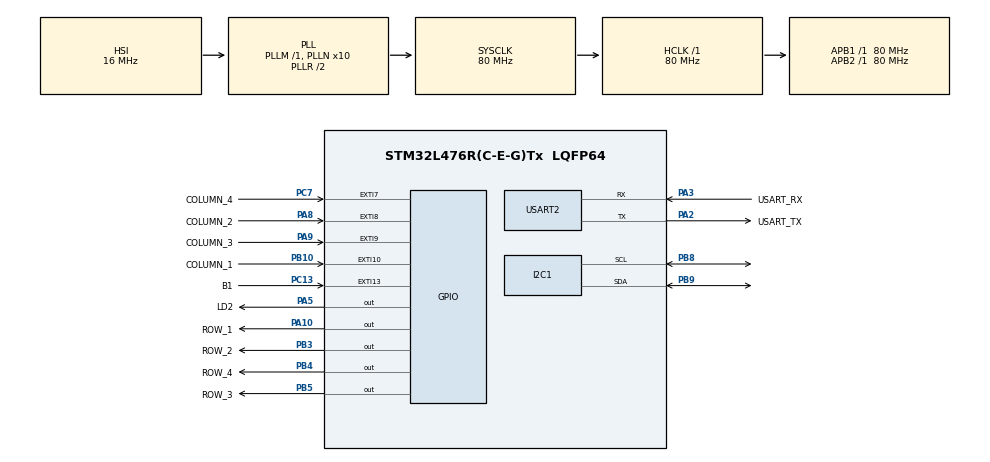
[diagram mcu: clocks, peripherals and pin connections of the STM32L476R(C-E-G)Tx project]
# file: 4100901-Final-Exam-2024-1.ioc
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I2C1.Timing=0x10909CEC
Mcu.Family=STM32L4
Mcu.Name=STM32L476R(C-E-G)Tx
Mcu.Package=LQFP64
NVIC.EXTI15_10_IRQn=true\:0\:0\:false\:false\:true\:true\:true\:true
NVIC.PriorityGroup=NVIC_PRIORITYGROUP_4
NVIC.USART2_IRQn=true\:0\:0\:false\:false\:true\:true\:true\:true
PA10.GPIO_Label=ROW_1
PA10.Signal=GPIO_Output
PA13\ (JTMS-SWDIO).GPIO_Label=TMS
PA13\ (JTMS-SWDIO).Mode=Serial_Wire
PA13\ (JTMS-SWDIO).Signal=SYS_JTMS-SWDIO
PA14\ (JTCK-SWCLK).GPIO_Label=TCK
PA14\ (JTCK-SWCLK).Mode=Serial_Wire
PA14\ (JTCK-SWCLK).Signal=SYS_JTCK-SWCLK
PA2.GPIO_Label=USART_TX
PA2.GPIO_Mode=GPIO_MODE_AF_PP
PA2.GPIO_PuPd=GPIO_NOPULL
PA2.GPIO_Speed=GPIO_SPEED_FREQ_VERY_HIGH
PA2.Mode=Asynchronous
PA2.Signal=USART2_TX
PA3.GPIO_Label=USART_RX
PA3.GPIO_Mode=GPIO_MODE_AF_PP
PA3.GPIO_PuPd=GPIO_NOPULL
PA3.GPIO_Speed=GPIO_SPEED_FREQ_VERY_HIGH
PA3.Mode=Asynchronous
PA3.Signal=USART2_RX
PA5.GPIO_Label=LD2 
PA5.GPIO_ModeDefaultOutputPP=GPIO_MODE_OUTPUT_PP
PA5.GPIO_PuPd=GPIO_NOPULL
PA5.GPIO_Speed=GPIO_SPEED_FREQ_LOW
PA5.Signal=GPIO_Output
PA8.GPIO_Label=COLUMN_2
PA8.Signal=GPXTI8
PA9.GPIO_Label=COLUMN_3
PA9.Signal=GPXTI9
PB10.GPIO_Label=COLUMN_1
PB10.Signal=GPXTI10
PB3\ (JTDO-TRACESWO).GPIO_Label=ROW_2
PB3\ (JTDO-TRACESWO).Signal=GPIO_Output
PB4\ (NJTRST).GPIO_Label=ROW_4
PB4\ (NJTRST).Signal=GPIO_Output
PB5.GPIO_Label=ROW_3
PB5.Signal=GPIO_Output
PB8.Mode=I2C
PB8.Signal=I2C1_SCL
PB9.Mode=I2C
PB9.Signal=I2C1_SDA
PC13.GPIO_Label=B1 
PC13.GPIO_ModeDefaultEXTI=GPIO_MODE_IT_FALLING
PC13.GPIO_PuPd=GPIO_NOPULL
PC13.Signal=GPXTI13
PC14-OSC32_IN\ (PC14).Mode=LSE-External-Oscillator
PC14-OSC32_IN\ (PC14).Signal=RCC_OSC32_IN
PC15-OSC32_OUT\ (PC15).Mode=LSE-External-Oscillator
PC15-OSC32_OUT\ (PC15).Signal=RCC_OSC32_OUT
PC7.GPIO_Label=COLUMN_4
PC7.Signal=GPXTI7
PH0-OSC_IN\ (PH0).Signal=RCC_OSC_IN
PH1-OSC_OUT\ (PH1).Signal=RCC_OSC_OUT
ProjectManager.HeapSize=0x200
ProjectManager.StackSize=0x400
ProjectManager.TargetToolchain=STM32CubeIDE
RCC.ADCFreq_Value=64000000
RCC.AHBFreq_Value=80000000
RCC.APB1Freq_Value=80000000
RCC.APB1TimFreq_Value=80000000
RCC.APB2Freq_Value=80000000
RCC.APB2TimFreq_Value=80000000
RCC.CortexFreq_Value=80000000
RCC.HCLKFreq_Value=80000000
RCC.HSE_VALUE=8000000
RCC.HSI_VALUE=16000000
RCC.MSI_VALUE=4000000
RCC.PLLN=10
RCC.PLLSourceVirtual=RCC_PLLSOURCE_HSI
RCC.PREFETCH_ENABLE=1
RCC.SYSCLKFreq_VALUE=80000000
RCC.SYSCLKSource=RCC_SYSCLKSOURCE_PLLCLK
RCC.USBFreq_Value=64000000
RCC.VCOOutputFreq_Value=160000000
USART2.VirtualMode-Asynchronous=VM_ASYNC
board=NUCLEO-L476RG

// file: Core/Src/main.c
/* USER CODE BEGIN Header */
/**
  ******************************************************************************
  * @file           : main.c
  * @brief          : Main program body
  ******************************************************************************
  * @attention
  *
  * Copyright (c) 2024 STMicroelectronics.
  * All rights reserved.
  *
  * This software is licensed under terms that can be found in the LICENSE file
  * in the root directory of this software component.
  * If no LICENSE file comes with this software, it is provided AS-IS.
  *
  ******************************************************************************
  */
/* USER CODE END Header */
#include "main.h"

/* USER CODE BEGIN Includes */
#include <stdio.h>

#include "ssd1306.h"
#include "ssd1306_fonts.h"

#include "ring_buffer.h"
#include "keypad.h"
/* USER CODE END Includes */

I2C_HandleTypeDef hi2c1;

UART_HandleTypeDef huart2;

/* USER CODE BEGIN PV */
uint8_t data_usart2;
uint8_t newline[] = "\r\n";

#define BUFFER_CAPACITY 10
uint8_t keyboard_buffer_memory[BUFFER_CAPACITY];
ring_buffer_t keyboard_ring_buffer;
uint8_t first_key_pressed = 0;
uint8_t cursor_x_position = 10;  // Control de la posición del cursor horizontal
uint8_t cursor_y_position = 30;  // Línea en la que aparecerán las teclas
uint8_t max_cursor_x_position = 80;

#define MAX_DISPLAY_CHARS 20 // Ajusta este valor según el tamaño de la pantalla y el tamaño del texto

// Buffer para almacenar la secuencia de teclas
static char display_buffer[MAX_DISPLAY_CHARS + 1]; // +1 para el terminador nulo
static uint8_t buffer_index = 0; // Asegúrate de que esta definición sea única

// Variables para la posición actual del cursor en la pantalla
static uint8_t cursor_x = 10;
static uint8_t cursor_y = 30;
uint16_t left_toggles=0;
uint8_t incorrect_password_toggles = 6;  // Parpadeos para contraseña incorrecta
uint32_t incorrect_password_interval = 125;  // 125 ms entre parpadeos
uint16_t left_toggles2=0;
uint8_t warning_toggles = 10;  // Parpadeos para otro caso
uint32_t warning_interval = 500;  // 500 ms entre parpadeos
uint8_t flashing_active = 0;  // Bandera para activar o desactivar el parpadeo
uint8_t flashing_active2=0;
uint8_t flashing_frequency=0;
uint8_t flashing_frequency2=0;

uint8_t flag_B1=0;

/* USER CODE END PV */

void SystemClock_Config(void);
static void MX_GPIO_Init(void);
static void MX_USART2_UART_Init(void);
static void MX_I2C1_Init(void);

/* USER CODE BEGIN 0 */
int _write(int file, char *ptr, int len)
{
  // to using printf
  HAL_UART_Transmit(&huart2, (uint8_t *)ptr, len, 10);
  return len;
}

void HAL_GPIO_EXTI_Callback(uint16_t GPIO_Pin) {
    // Detectar si la interrupción es causada por el botón en PC13
    if (GPIO_Pin == B1_Pin) {
        // Botón en PC13 presionado, realizar la suma de los dígitos ingresados
        int sum = 0;
        for (uint8_t i = 0; i < buffer_index; i++) {
            if (display_buffer[i] >= '0' && display_buffer[i] <= '9') {
                sum += display_buffer[i] - '0'; // Convertir char a int y sumar
            }
        }

        // Mostrar la suma en la pantalla
        char sum_str[20];
        snprintf(sum_str, sizeof(sum_str), "Suma: %d", sum);

        ssd1306_Fill(Black);
        ssd1306_SetCursor(10, 20);
        ssd1306_WriteString(sum_str, Font_6x8, White);
        ssd1306_UpdateScreen();
        HAL_UART_Transmit(&huart2, (uint8_t*)sum_str, strlen(sum_str), 10);

        // Reiniciar el buffer después de mostrar la suma
        ring_buffer_reset(&keyboard_ring_buffer);
        memset(display_buffer, 0, sizeof(display_buffer)); // Limpiar el buffer de pantalla
        buffer_index = 0; // Reiniciar el índice del buffer
        cursor_x = 10;  // Reinicia la posición horizontal del cursor
        cursor_y = 30;  // Reinicia la posición vertical del cursor
        return;
    }

    // Código existente para el teclado matricial
    uint8_t key_pressed = keypad_scan(GPIO_Pin);
    if (key_pressed != 0xFF) {
        // Si se presiona '*', reinicia la secuencia
        if (key_pressed == '*') {
            ring_buffer_reset(&keyboard_ring_buffer);
            memset(display_buffer, 0, sizeof(display_buffer)); // Limpiar el buffer de pantalla
            buffer_index = 0; // Reiniciar el índice del buffer

            ssd1306_Fill(Black);
            ssd1306_SetCursor(10, 20);
            ssd1306_WriteString("Secuencia reiniciada", Font_6x8, White);
            ssd1306_UpdateScreen();
            HAL_UART_Transmit(&huart2, (uint8_t*)"Secuencia reiniciada\n\r", 22, 10);
            return;
        }

        // Contar la cantidad de dígitos en el buffer
        uint8_t digit_count = 0;
        for (uint8_t i = 0; i < buffer_index; i++) {
            if (display_buffer[i] >= '0' && display_buffer[i] <= '9') {
                digit_count++;
            }
        }

        // Verificar si ya se ingresaron 4 dígitos
        if (digit_count >= 4) {
            // Mostrar mensaje "Espacio lleno" y reiniciar la secuencia
            ssd1306_Fill(Black);
            ssd1306_SetCursor(10, 20);
            ssd1306_WriteString("Espacio lleno", Font_6x8, White);
            ssd1306_UpdateScreen();
            HAL_UART_Transmit(&huart2, (uint8_t*)"Espacio lleno\n\r", 15, 10);

            // Reiniciar el buffer
            ring_buffer_reset(&keyboard_ring_buffer);
            memset(display_buffer, 0, sizeof(display_buffer)); // Limpiar el buffer de pantalla
            buffer_index = 0; // Reiniciar el índice del buffer
            return;
        }

        // Escribir la tecla en el ring buffer
        if (key_pressed != '#') { // Ya no se usará '#' para sumar
            ring_buffer_write(&keyboard_ring_buffer, key_pressed);

            // Agregar el carácter al buffer de pantalla
            if (buffer_index < MAX_DISPLAY_CHARS) {
                display_buffer[buffer_index++] = key_pressed;
                display_buffer[buffer_index] = '\0'; // Null-terminar el buffer

                // Limpiar la pantalla y mostrar el contenido del buffer
                ssd1306_Fill(Black);
                ssd1306_SetCursor(10, 30);
                ssd1306_WriteString(display_buffer, Font_6x8, White);
                ssd1306_UpdateScreen();

                // Transmitir el carácter a través de UART en tiempo real
                HAL_UART_Transmit(&huart2, &key_pressed, 1, 10);
            }
        }
    }
}

/* USER CODE END 0 */

int main(void)
{

  /* MCU Configuration--------------------------------------------------------*/

  /* Reset of all peripherals, Initializes the Flash interface and the Systick. */
  HAL_Init();

  /* Configure the system clock */
  SystemClock_Config();

  /* Initialize all configured peripherals */
  MX_GPIO_Init();
  MX_USART2_UART_Init();
  MX_I2C1_Init();
  /* USER CODE BEGIN 2 */
  ring_buffer_init(&keyboard_ring_buffer, keyboard_buffer_memory, BUFFER_CAPACITY);
  ssd1306_Init();
  ssd1306_Fill(Black);
  ssd1306_SetCursor(10,20);
  ssd1306_WriteString("iniciando",Font_6x8,White);
  ssd1306_UpdateScreen();

  /* USER CODE END 2 */

  /* Infinite loop */
  /* USER CODE BEGIN WHILE */
  printf("Starting...\r\n");
  while (1)
  {

    /* USER CODE END WHILE */

  }
}

void SystemClock_Config(void)
{
  RCC_OscInitTypeDef RCC_OscInitStruct = {0};
  RCC_ClkInitTypeDef RCC_ClkInitStruct = {0};

  /** Configure the main internal regulator output voltage
  */
  if (HAL_PWREx_ControlVoltageScaling(PWR_REGULATOR_VOLTAGE_SCALE1) != HAL_OK)
  {
    Error_Handler();
  }

  /** Initializes the RCC Oscillators according to the specified parameters
  * in the RCC_OscInitTypeDef structure.
  */
  RCC_OscInitStruct.OscillatorType = RCC_OSCILLATORTYPE_HSI;
  RCC_OscInitStruct.HSIState = RCC_HSI_ON;
  RCC_OscInitStruct.HSICalibrationValue = RCC_HSICALIBRATION_DEFAULT;
  RCC_OscInitStruct.PLL.PLLState = RCC_PLL_ON;
  RCC_OscInitStruct.PLL.PLLSource = RCC_PLLSOURCE_HSI;
  RCC_OscInitStruct.PLL.PLLM = 1;
  RCC_OscInitStruct.PLL.PLLN = 10;
  RCC_OscInitStruct.PLL.PLLP = RCC_PLLP_DIV7;
  RCC_OscInitStruct.PLL.PLLQ = RCC_PLLQ_DIV2;
  RCC_OscInitStruct.PLL.PLLR = RCC_PLLR_DIV2;
  if (HAL_RCC_OscConfig(&RCC_OscInitStruct) != HAL_OK)
  {
    Error_Handler();
  }

  /** Initializes the CPU, AHB and APB buses clocks
  */
  RCC_ClkInitStruct.ClockType = RCC_CLOCKTYPE_HCLK|RCC_CLOCKTYPE_SYSCLK
                              |RCC_CLOCKTYPE_PCLK1|RCC_CLOCKTYPE_PCLK2;
  RCC_ClkInitStruct.SYSCLKSource = RCC_SYSCLKSOURCE_PLLCLK;
  RCC_ClkInitStruct.AHBCLKDivider = RCC_SYSCLK_DIV1;
  RCC_ClkInitStruct.APB1CLKDivider = RCC_HCLK_DIV1;
  RCC_ClkInitStruct.APB2CLKDivider = RCC_HCLK_DIV1;

  if (HAL_RCC_ClockConfig(&RCC_ClkInitStruct, FLASH_LATENCY_4) != HAL_OK)
  {
    Error_Handler();
  }
}

static void MX_I2C1_Init(void)
{

  hi2c1.Instance = I2C1;
  hi2c1.Init.Timing = 0x10909CEC;
  hi2c1.Init.OwnAddress1 = 0;
  hi2c1.Init.AddressingMode = I2C_ADDRESSINGMODE_7BIT;
  hi2c1.Init.DualAddressMode = I2C_DUALADDRESS_DISABLE;
  hi2c1.Init.OwnAddress2 = 0;
  hi2c1.Init.OwnAddress2Masks = I2C_OA2_NOMASK;
  hi2c1.Init.GeneralCallMode = I2C_GENERALCALL_DISABLE;
  hi2c1.Init.NoStretchMode = I2C_NOSTRETCH_DISABLE;
  if (HAL_I2C_Init(&hi2c1) != HAL_OK)
  {
    Error_Handler();
  }

  /** Configure Analogue filter
  */
  if (HAL_I2CEx_ConfigAnalogFilter(&hi2c1, I2C_ANALOGFILTER_ENABLE) != HAL_OK)
  {
    Error_Handler();
  }

  /** Configure Digital filter
  */
  if (HAL_I2CEx_ConfigDigitalFilter(&hi2c1, 0) != HAL_OK)
  {
    Error_Handler();
  }

}

static void MX_USART2_UART_Init(void)
{

  huart2.Instance = USART2;
  huart2.Init.BaudRate = 256000;
  huart2.Init.WordLength = UART_WORDLENGTH_8B;
  huart2.Init.StopBits = UART_STOPBITS_1;
  huart2.Init.Parity = UART_PARITY_NONE;
  huart2.Init.Mode = UART_MODE_TX_RX;
  huart2.Init.HwFlowCtl = UART_HWCONTROL_NONE;
  huart2.Init.OverSampling = UART_OVERSAMPLING_16;
  huart2.Init.OneBitSampling = UART_ONE_BIT_SAMPLE_DISABLE;
  huart2.AdvancedInit.AdvFeatureInit = UART_ADVFEATURE_NO_INIT;
  if (HAL_UART_Init(&huart2) != HAL_OK)
  {
    Error_Handler();
  }

}

static void MX_GPIO_Init(void)
{
  GPIO_InitTypeDef GPIO_InitStruct = {0};

  /* GPIO Ports Clock Enable */
  __HAL_RCC_GPIOC_CLK_ENABLE();
  __HAL_RCC_GPIOH_CLK_ENABLE();
  __HAL_RCC_GPIOA_CLK_ENABLE();
  __HAL_RCC_GPIOB_CLK_ENABLE();

  /*Configure GPIO pin Output Level */
  HAL_GPIO_WritePin(GPIOA, LD2_Pin|ROW_1_Pin, GPIO_PIN_RESET);

  /*Configure GPIO pin Output Level */
  HAL_GPIO_WritePin(GPIOB, ROW_2_Pin|ROW_4_Pin|ROW_3_Pin, GPIO_PIN_RESET);

  /*Configure GPIO pin : B1_Pin */
  GPIO_InitStruct.Pin = B1_Pin;
  GPIO_InitStruct.Mode = GPIO_MODE_IT_FALLING;
  GPIO_InitStruct.Pull = GPIO_NOPULL;
  HAL_GPIO_Init(B1_GPIO_Port, &GPIO_InitStruct);

  /*Configure GPIO pins : LD2_Pin ROW_1_Pin */
  GPIO_InitStruct.Pin = LD2_Pin|ROW_1_Pin;
  GPIO_InitStruct.Mode = GPIO_MODE_OUTPUT_PP;
  GPIO_InitStruct.Pull = GPIO_NOPULL;
  GPIO_InitStruct.Speed = GPIO_SPEED_FREQ_LOW;
  HAL_GPIO_Init(GPIOA, &GPIO_InitStruct);

  /*Configure GPIO pin : COLUMN_1_Pin */
  GPIO_InitStruct.Pin = COLUMN_1_Pin;
  GPIO_InitStruct.Mode = GPIO_MODE_IT_RISING;
  GPIO_InitStruct.Pull = GPIO_NOPULL;
  HAL_GPIO_Init(COLUMN_1_GPIO_Port, &GPIO_InitStruct);

  /*Configure GPIO pin : COLUMN_4_Pin */
  GPIO_InitStruct.Pin = COLUMN_4_Pin;
  GPIO_InitStruct.Mode = GPIO_MODE_IT_RISING;
  GPIO_InitStruct.Pull = GPIO_NOPULL;
  HAL_GPIO_Init(COLUMN_4_GPIO_Port, &GPIO_InitStruct);

  /*Configure GPIO pins : COLUMN_2_Pin COLUMN_3_Pin */
  GPIO_InitStruct.Pin = COLUMN_2_Pin|COLUMN_3_Pin;
  GPIO_InitStruct.Mode = GPIO_MODE_IT_RISING;
  GPIO_InitStruct.Pull = GPIO_NOPULL;
  HAL_GPIO_Init(GPIOA, &GPIO_InitStruct);

  /*Configure GPIO pins : ROW_2_Pin ROW_4_Pin ROW_3_Pin */
  GPIO_InitStruct.Pin = ROW_2_Pin|ROW_4_Pin|ROW_3_Pin;
  GPIO_InitStruct.Mode = GPIO_MODE_OUTPUT_PP;
  GPIO_InitStruct.Pull = GPIO_NOPULL;
  GPIO_InitStruct.Speed = GPIO_SPEED_FREQ_LOW;
  HAL_GPIO_Init(GPIOB, &GPIO_InitStruct);

  /* EXTI interrupt init*/
  HAL_NVIC_SetPriority(EXTI15_10_IRQn, 0, 0);
  HAL_NVIC_EnableIRQ(EXTI15_10_IRQn);

}

void Error_Handler(void)
{
  __disable_irq();
  while (1)
  {
  }
}
